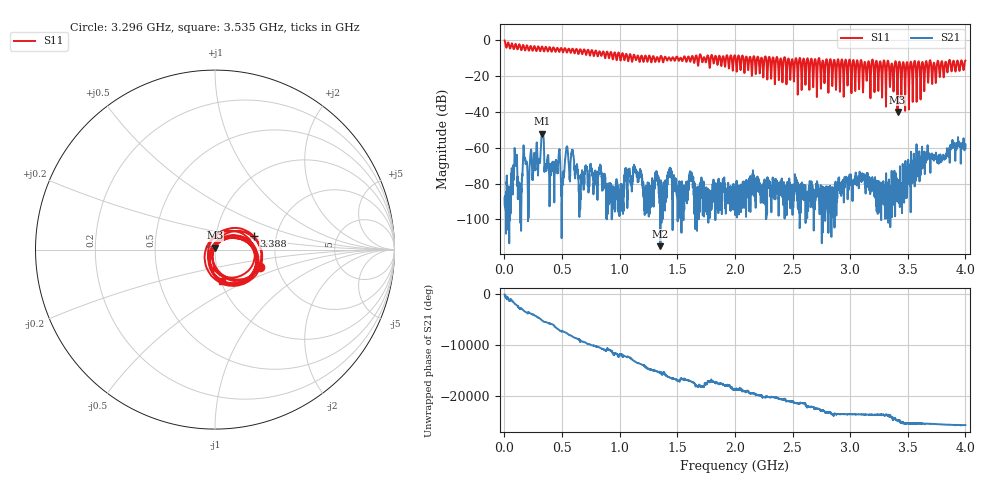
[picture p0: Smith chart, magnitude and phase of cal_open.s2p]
!Created with skrf (http://scikit-rf.org).
# GHz S RI R 50.0
!freq ReS11 ImS11 ReS21 ImS21 ReS12 ImS12 ReS22 ImS22
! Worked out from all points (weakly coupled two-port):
!   4000 points, 1 MHz to 4 GHz, reference 50 ohm
!   highest |S21| = -52.22 dB at 326 MHz (marker M1); lowest = -115.0 dB at 1.353 GHz (marker M2)
!   lowest |S11| = -40.0 dB at 3.411 GHz (marker M3), VSWR 1.02, Z = 50 + j0.999 ohm
!   |S11| at or under -10 dB: 2.436 GHz to 2.528 GHz (92.46 MHz wide, 3.73 % of centre); 2.566 GHz to 2.727 GHz (161.5 MHz wide, 6.1 % of centre); 2.731 GHz to end of sweep (the widest 3 of 48)
!   S12 and S22 are empty: the file has one direction only
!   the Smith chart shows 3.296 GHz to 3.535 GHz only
!   S11 on the Smith chart (normalised r, x): 3.296 GHz: 1.63, -0.34; 3.388 GHz: 1.53, +0.24; 3.535 GHz: 1.02, -0.36
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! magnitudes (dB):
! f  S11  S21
! 1 MHz  0.0  -88.1
! 92 MHz  -2.4  -65.6
! 133 MHz  -2.6  -86.7
! 176 MHz  -5.4  -66.8
! 203 MHz  -4.1  -86.2
! 326 MHz  -3.4  -52.2
! 374 MHz  -6.0  -65.8
! 464 MHz  -4.7  -70.9
! 505 MHz  -6.3  -77.0
! 541 MHz  -6.7  -59.3
! 668 MHz  -6.4  -78.6
! 1.334 GHz  -10.7  -77.4
! 1.353 GHz  -9.2  -115.0
! 1.431 GHz  -9.6  -72.4
! 2.001 GHz  -8.6  -84.6
! 2.667 GHz  -10.8  -83.4
! 3.296 GHz  -11.4  -83.3
! 3.334 GHz  -12.9  -87.5
! 3.388 GHz  -12.8  -85.7
! 3.411 GHz  -40.0  -78.8
! 3.535 GHz  -15.0  -73.3
! 4 GHz  -11.3  -60.3
